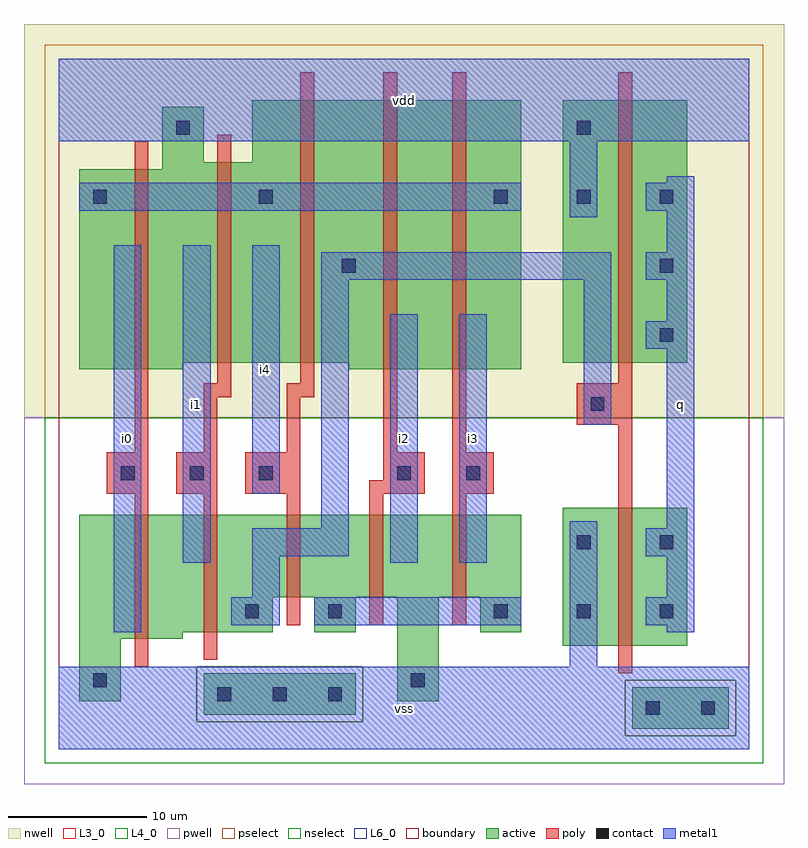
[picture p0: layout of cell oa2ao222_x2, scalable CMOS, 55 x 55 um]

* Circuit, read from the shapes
.subckt oa2ao222_x2 i0 i1 i2 i3 i4 q vdd vss
M1 n1 i0 vss vss nfet w=9u l=1u
M2 n2 i1 n1 vss nfet w=8.5u l=1u
M3 n3 i4 n2 vss nfet w=6u l=1u
M4 vss i2 n3 vss nfet w=6u l=1u
M5 n3 i3 vss vss nfet w=6u l=1u
M6 q n2 vss vss nfet w=10u l=1u
M7 vdd i0 n4 n5 pfet w=14.5u l=1u
M8 n4 i1 vdd n5 pfet w=14.5u l=1u
M9 n2 i4 n4 n5 pfet w=19u l=1u
M10 n6 i2 n2 n5 pfet w=19.5u l=1u
M11 n4 i3 n6 n5 pfet w=19.5u l=1u
M12 q n2 vdd n5 pfet w=19u l=1u
.ends

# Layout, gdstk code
import gdstk
lib = gdstk.Library(unit=1e-6, precision=1e-09)
def R(c, l, rs):  # rectangles x0, y0, x1, y1
    for r in rs: c.add(gdstk.rectangle(r[:2], r[2:], *l))
def A(c, l, x, y, w, h, nx, ny, dx, dy):  # array of equal rectangles
    R(c, l, [(x+i*dx, y+j*dy, x+i*dx+w, y+j*dy+h) for i in range(nx) for j in range(ny)])
L3_0 = (3, 0)
L4_0 = (4, 0)
L6_0 = (6, 0)
contact = (25, 0)
pwell = (41, 0)
nwell = (42, 0)
active = (43, 0)
pselect = (44, 0)
nselect = (45, 0)
poly = (46, 0)
metal1 = (49, 0)
boundary = (63, 0)

oa2ao222_x2 = lib.new_cell('oa2ao222_x2')
R(oa2ao222_x2, L3_0, [(1.5,3.5,4.5,8), (24.5,3.5,27.5,11), (36.5,7.5,45.5,17.5), (1.5,8,9,8.5), (1.5,8.5,15.5,11), (18.5,8.5,21.5,11), (30.5,8.5,33.5,11), (1.5,11,33.5,17)])
R(oa2ao222_x2, L4_0, [(1.5,27.5,9,28), (21,27.5,33.5,28), (1.5,28,33.5,42), (36.5,28,45.5,47), (7.5,42,33.5,42.5), (7.5,42.5,10.5,46.5), (14,42.5,33.5,47)])
R(oa2ao222_x2, L6_0, [(41.5,1.5,48.5,4.5), (10.5,2.5,21.5,5.5)])
A(oa2ao222_x2, contact, 11.5, 3.5, 1, 1, 3, 1, 4, 0)
A(oa2ao222_x2, contact, 31.5, 9.5, 1, 1, 3, 2, 6, 30)
A(oa2ao222_x2, contact, 4.5, 19.5, 1, 1, 3, 1, 5, 0)
R(oa2ao222_x2, contact, [(42.5,2.5,43.5,3.5), (46.5,2.5,47.5,3.5), (2.5,4.5,3.5,5.5), (25.5,4.5,26.5,5.5), (13.5,9.5,14.5,10.5), (19.5,9.5,20.5,10.5), (37.5,14.5,38.5,15.5), (43.5,14.5,44.5,15.5), (24.5,19.5,25.5,20.5), (29.5,19.5,30.5,20.5), (38.5,24.5,39.5,25.5), (43.5,29.5,44.5,30.5), (20.5,34.5,21.5,35.5), (43.5,34.5,44.5,35.5), (2.5,39.5,3.5,40.5), (14.5,39.5,15.5,40.5), (8.5,44.5,9.5,45.5), (37.5,44.5,38.5,45.5)])
R(oa2ao222_x2, pwell, [(-2.5,-2.5,52.5,24)])
R(oa2ao222_x2, nwell, [(-2.5,24,52.5,52.5)])
R(oa2ao222_x2, active, [(41.5,1.5,48.5,4.5), (10.5,2.5,21.5,5.5), (1.5,3.5,4.5,8), (24.5,3.5,27.5,11), (36.5,7.5,45.5,17.5), (1.5,8,9,8.5), (1.5,8.5,15.5,11), (18.5,8.5,21.5,11), (30.5,8.5,33.5,11), (1.5,11,33.5,17), (1.5,27.5,9,28), (21,27.5,33.5,28), (1.5,28,33.5,42), (36.5,28,45.5,47), (7.5,42,33.5,42.5), (7.5,42.5,10.5,46.5), (14,42.5,33.5,47)])
R(oa2ao222_x2, pselect, [(41,1,49,5), (10,2,22,6), (-1,24,51,51)])
R(oa2ao222_x2, nselect, [(-1,-1,51,1), (-1,1,41,2), (49,1,51,5), (-1,2,10,6), (22,2,41,5), (22,5,51,6), (-1,6,51,24)])
A(oa2ao222_x2, poly, 16.5, 9, 1, 9.5, 3, 1, 6, 0)
R(oa2ao222_x2, poly, [(40.5,5.5,41.5,23.5), (5.5,6,6.5,18.5), (10.5,6.5,11.5,18.5), (3.5,18.5,6.5,21.5), (8.5,18.5,11.5,21.5), (13.5,18.5,17.5,21.5), (22.5,18.5,26.5,19.5), (28.5,18.5,31.5,21.5), (23.5,19.5,26.5,21.5), (5.5,21.5,6.5,44), (10.5,21.5,11.5,25.5), (16.5,21.5,17.5,25.5), (23.5,21.5,24.5,49), (28.5,21.5,29.5,49), (37.5,23.5,41.5,26.5), (10.5,25.5,12.5,26.5), (16.5,25.5,18.5,26.5), (11.5,26.5,12.5,44.5), (17.5,26.5,18.5,49), (40.5,26.5,41.5,49)])
R(oa2ao222_x2, metal1, [(0,0,50,6), (0,0,50,6), (37,6,39,16.5), (37,6,39,16.5), (4,8.5,6,36.5), (4,8.5,6,36.5), (44,8.5,46,9), (44,8.5,46,9), (12.5,9,16,11), (12.5,9,16,11), (18.5,9,33.5,11), (18.5,9,33.5,11), (42.5,9,46,11), (42.5,9,46,11), (14,11,16,14), (14,11,16,14), (44,11,46,14), (44,11,46,14), (9,13.5,11,36.5), (9,13.5,11,36.5), (24,13.5,26,31.5), (24,13.5,26,31.5), (29,13.5,31,31.5), (29,13.5,31,31.5), (14,14,21,16), (14,14,21,16), (42.5,14,46,16), (42.5,14,46,16), (19,16,21,34), (19,16,21,34), (44,16,46,29), (44,16,46,29), (14,18.5,16,36.5), (14,18.5,16,36.5), (38,23.5,40,34), (38,23.5,40,34), (42.5,29,46,31), (42.5,29,46,31), (44,31,46,34), (44,31,46,34), (19,34,40,36), (19,34,40,36), (42.5,34,46,36), (42.5,34,46,36), (44,36,46,39), (44,36,46,39), (37,38.5,39,44), (37,38.5,39,44), (1.5,39,33.5,41), (1.5,39,33.5,41), (42.5,39,46,41), (42.5,39,46,41), (44,41,46,41.5), (44,41,46,41.5), (0,44,50,50), (0,44,50,50)])
R(oa2ao222_x2, boundary, [(0,0,50,50)])
oa2ao222_x2.add(gdstk.Label('i0', (5,22.5), layer=49, texttype=0))
oa2ao222_x2.add(gdstk.Label('i1', (10,25), layer=49, texttype=0))
oa2ao222_x2.add(gdstk.Label('i4', (15,27.5), layer=49, texttype=0))
oa2ao222_x2.add(gdstk.Label('vss', (25,3), layer=49, texttype=0))
oa2ao222_x2.add(gdstk.Label('i2', (25,22.5), layer=49, texttype=0))
oa2ao222_x2.add(gdstk.Label('i3', (30,22.5), layer=49, texttype=0))
oa2ao222_x2.add(gdstk.Label('vdd', (25,47), layer=49, texttype=0))
oa2ao222_x2.add(gdstk.Label('q', (45,25), layer=49, texttype=0))

lib.write_gds('oa2ao222_x2.gds')
